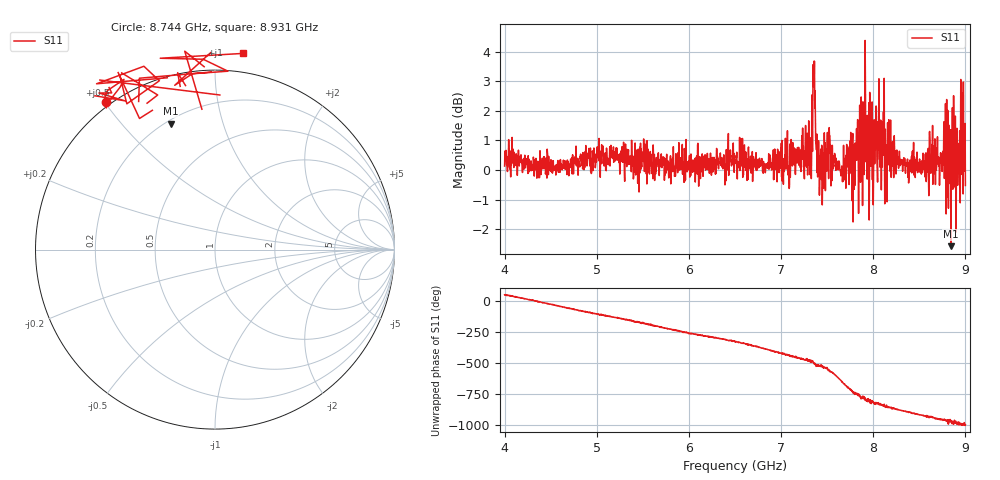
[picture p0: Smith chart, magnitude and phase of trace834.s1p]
! Created with skrf 1.8.0 (http://scikit-rf.org).
# Hz S RI R 50.0
!freq ReS11 ImS11
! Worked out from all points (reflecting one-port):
!   1601 points, 4 GHz to 9 GHz, reference 50 ohm
!   lowest |S11| = -2.6 dB at 8.844 GHz (marker M1), VSWR 6.79, Z = 10.9 + j34.2 ohm
!   phase of S11 starts at 50 deg and turns -1046 deg over the sweep
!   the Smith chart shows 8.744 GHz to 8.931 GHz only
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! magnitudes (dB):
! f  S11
! 4 GHz  0.1
! 4.625 GHz  0.0
! 5.25 GHz  -0.1
! 5.875 GHz  0.0
! 6.5 GHz  0.3
! 6.825 GHz  0.1
! 7.125 GHz  0.6
! 7.306 GHz  1.1
! 7.344 GHz  1.9
! 7.359 GHz  3.0
! 7.4 GHz  0.6
! 7.438 GHz  -0.3
! 7.512 GHz  0.9
! 7.65 GHz  -0.2
! 7.75 GHz  0.4
! 7.859 GHz  2.0
! 7.928 GHz  1.8
! 7.981 GHz  1.3
! 8.097 GHz  0.1
! 8.147 GHz  0.3
! 8.375 GHz  0.2
! 8.581 GHz  0.2
! 8.759 GHz  0.4
! 8.844 GHz  -2.6
! 8.872 GHz  2.5
! 8.919 GHz  -0.1
! 8.972 GHz  0.7
! 9 GHz  -0.5
